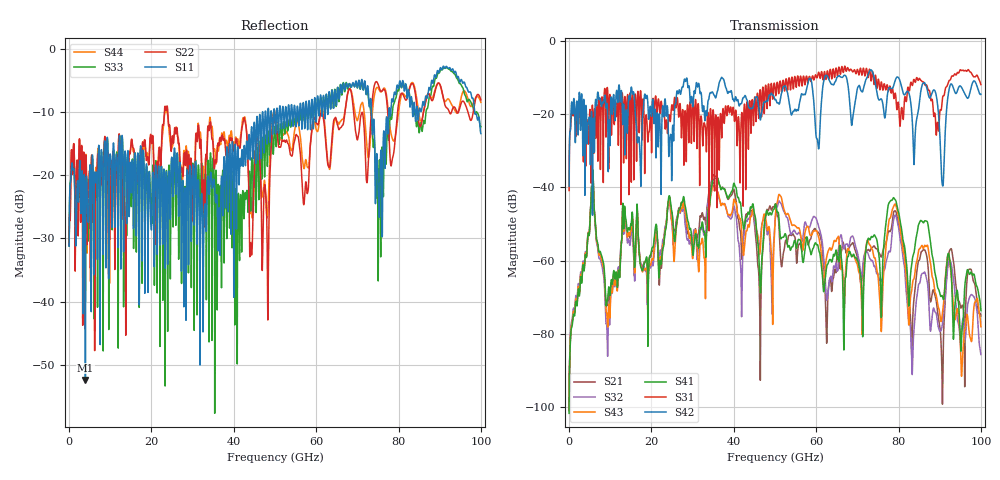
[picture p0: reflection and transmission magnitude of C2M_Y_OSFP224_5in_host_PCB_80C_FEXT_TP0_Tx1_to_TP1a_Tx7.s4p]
# GHz S RI R 45
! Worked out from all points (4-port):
!   4000 points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, 25 MHz to 100 GHz, reference 45 ohm
!   strongest paths, dB at 25 MHz, 25.02 GHz, 50.02 GHz, 75.03 GHz, 100 GHz:
!     S42: -39.6, -28.1, -16.1, -15.6, -14.6
!     S31: -40.9, -17.5, -13.0, -10.8, -12.0
!     S41: -101.7, -47.0, -44.9, -56.5, -73.7
!     S43: -100.9, -49.7, -49.7, -64.1, -78.1
!     S32: -100.1, -50.0, -49.4, -63.7, -85.6
!     S21: -101.0, -47.1, -44.6, -57.5, -75.1
!   lowest |S11| = -52.4 dB at 3.975 GHz (marker M1), VSWR 1.00, Z = 45 + j0.212 ohm
!   |S11| at or under -10 dB: start of sweep to 46.98 GHz; 73.46 GHz to 77.63 GHz (4.172 GHz wide, 5.52 % of centre); 98.49 GHz to end of sweep (the widest 3 of 30)
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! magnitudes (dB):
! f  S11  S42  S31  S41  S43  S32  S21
! 25 MHz  -31.2  -39.6  -40.9  -101.7  -100.9  -100.1  -101.0
! 3.975 GHz  -52.4  -20.7  -28.1  -58.4  -57.9  -57.5  -58.1
! 51.2 GHz  -9.0  -16.7  -11.1  -52.4  -42.2  -44.1  -55.8
! 75.72 GHz  -16.1  -15.8  -11.6  -70.6  -77.2  -65.2  -59.0
! 79.1 GHz  -6.9  -11.2  -14.6  -43.3  -44.6  -47.6  -46.4
! 83.28 GHz  -8.5  -20.6  -12.1  -60.3  -67.5  -90.0  -83.6
! 100 GHz  -13.4  -14.6  -12.0  -73.7  -78.1  -85.6  -75.1
